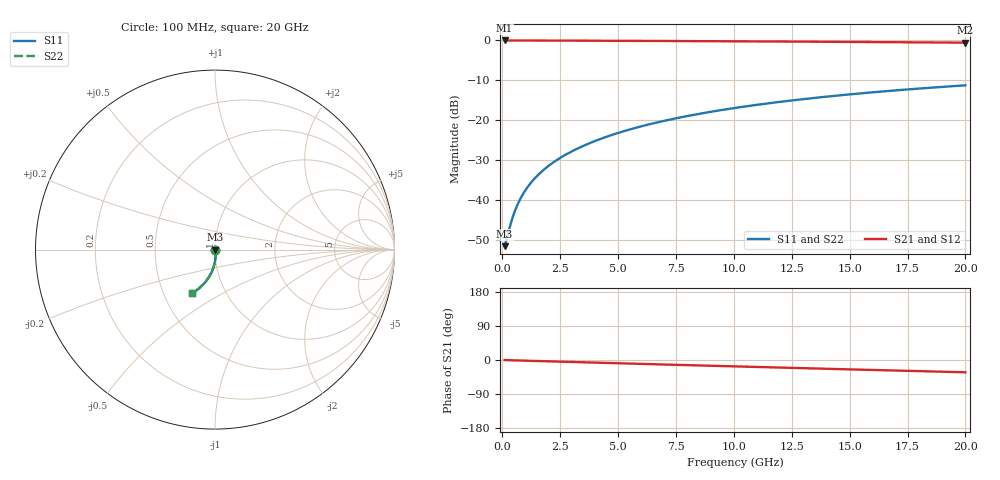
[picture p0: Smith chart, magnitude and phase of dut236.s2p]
! Touchstone file exported from HFSS 2026.1.0
!  File:  C:/ffzhzh/LocalFiles/Ansys_Project_Files/temp_train_TMRDL_236_1782984582_6248.aedt
!  Generated:  05:30:50 PM Jul  2, 2026
!  Design:  TMRDL
!  Project:  temp_train_TMRDL_236_1782984582_6248
! Variables:
!  h_bsmrdl = 2um
!  h_ox = 20um
!  h_rdl = 5um
!  h_sub = 80um
!  h_tmrdl = 5.38um
!  h_tsv = 80um
!  h_via = 3um
!  l_bsmrdl = 300um
!  l_sub = 894.96um
!  l_tmrdl = 494.96um
!  m_sub = 200um
!  pitch = 15.55um
!  r_tsv = 6um
!  s_tmrdl = 10um
!  w_bsmrdl = 18um
!  w_sub = 500um
!  w_tmrdl = 14.19um
!  x_tsv_center1 = 502.055um
!  x_tsv_center2 = 820.055um
!  x_tsv_center3 = 1329.205um
!  x_tsv_center4 = 1647.205um
!  x_tsv_center5 = 2156.355um
!  x_tsv_center6 = 2474.355um
# GHz S MA R 50.000000
! Terminal data exported
! Port[1] = TM_RDL1_1_T1
! Port[2] = TM_RDL1_1_T2
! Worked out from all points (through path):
!   200 points, 100 MHz to 20 GHz, reference 50 ohm
!   highest |S21| = -0.02 dB at 100 MHz (marker M1); lowest = -0.6 dB at 20 GHz (marker M2)
!   group delay of S21, straight-line fit = 4.49 ps
!   lowest |S11| = -51.7 dB at 100 MHz (marker M3), VSWR 1.01, Z = 50.3 - j0.076 ohm
!   |S11| at or under -10 dB: start of sweep to end of sweep
!   |S22| runs from -51.7 to -11.3 dB; largest |S21 - S12| = 2.7e-15
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0.1  0.002611 -16.8  0.9975 -0.2  0.9975 -0.2  0.002611 -16.8
! Gamma 0 0 0 0
! Port Impedance 50 0 50 0
0.4  0.005424 -49.2  0.9964 -0.8  0.9964 -0.8  0.005424 -49.2
0.5  0.006652 -55.2  0.9961 -0.9  0.9961 -0.9  0.006652 -55.2
0.6  0.007925 -59.8  0.9959 -1.1  0.9959 -1.1  0.007924 -59.8
0.7  0.009222 -63.5  0.9957 -1.3  0.9957 -1.3  0.009221 -63.5
0.9  0.01185 -68.8  0.9954 -1.6  0.9954 -1.6  0.01185 -68.9
1.2  0.01584 -74.0  0.995 -2.2  0.995 -2.2  0.01584 -74.0
1.4  0.01852 -76.4  0.9947 -2.5  0.9947 -2.5  0.01852 -76.4
1.6  0.02121 -78.2  0.9944 -2.8  0.9944 -2.8  0.02121 -78.2
2.1  0.02799 -81.5  0.9937 -3.7  0.9937 -3.7  0.02799 -81.5
2.7  0.03624 -84.1  0.9927 -4.7  0.9927 -4.7  0.03623 -84.1
3.5  0.04743 -86.6  0.9911 -6.1  0.9911 -6.1  0.04741 -86.7
4.2  0.05737 -88.4  0.9895 -7.3  0.9895 -7.3  0.05735 -88.5
5  0.06886 -90.3  0.9876 -8.6  0.9876 -8.6  0.06884 -90.3
5.9  0.0819 -92.3  0.9854 -10.1  0.9854 -10.1  0.08187 -92.3
6.8  0.09498 -94.1  0.983 -11.6  0.983 -11.6  0.09495 -94.2
8.3  0.1167 -97.1  0.9789 -14.1  0.9789 -14.1  0.1167 -97.2
10.1  0.1426 -100.5  0.9735 -17.0  0.9735 -17.0  0.1425 -100.6
11.7  0.1651 -103.5  0.9683 -19.6  0.9683 -19.6  0.165 -103.6
13.4  0.1885 -106.5  0.9624 -22.3  0.9624 -22.3  0.1884 -106.6
16.7  0.232 -112.1  0.9498 -27.4  0.9498 -27.4  0.2319 -112.2
20  0.2727 -117.4  0.936 -32.4  0.936 -32.4  0.2726 -117.6
